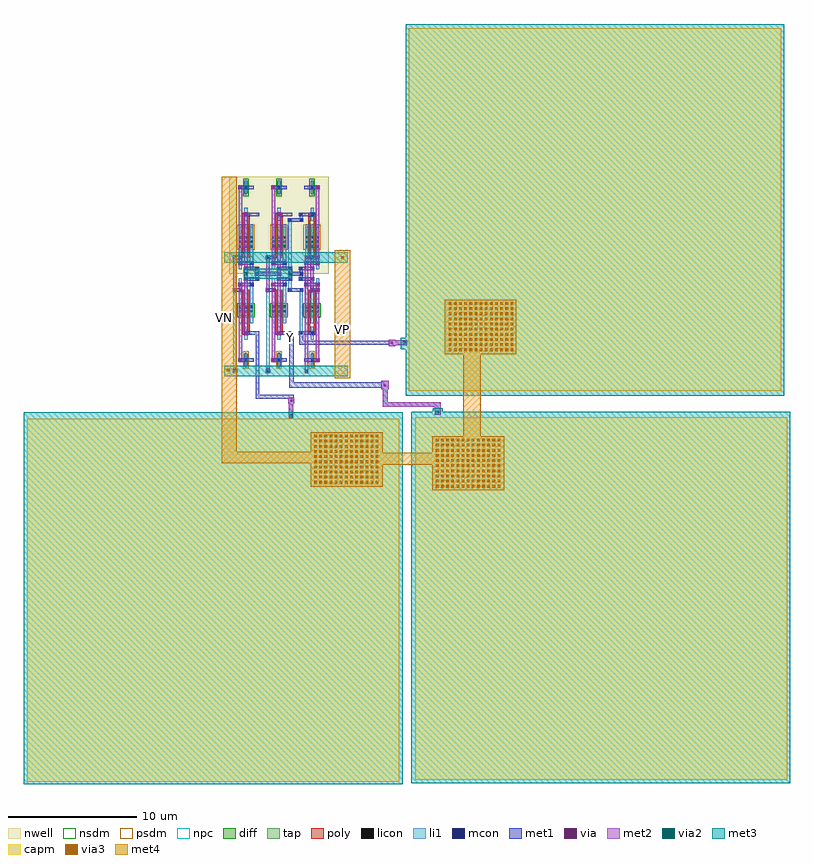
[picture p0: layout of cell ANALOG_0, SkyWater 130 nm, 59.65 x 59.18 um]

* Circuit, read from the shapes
.subckt ANALOG_0 VN VP Y
XM1 Y n1 VP VP sky130_fd_pr__nfet_01v8 w=0.84 l=0.15 m=2
XM2 n2 Y VP VP sky130_fd_pr__nfet_01v8 w=0.84 l=0.15 m=2
XM3 n1 n2 VP VP sky130_fd_pr__nfet_01v8 w=0.84 l=0.15 m=2
XM4 Y n1 VN VN sky130_fd_pr__pfet_01v8 w=1.68 l=0.15 m=2
XM5 n2 Y VN VN sky130_fd_pr__pfet_01v8 w=1.68 l=0.15 m=2
XM6 n1 n2 VN VN sky130_fd_pr__pfet_01v8 w=1.68 l=0.15 m=2
XC7 VN n1 sky130_fd_pr__cap_mim_m3_1 w=28.97 l=28.24
XC8 VN n2 sky130_fd_pr__cap_mim_m3_1 w=28.97 l=28.24
XC9 VN Y sky130_fd_pr__cap_mim_m3_1 w=28.97 l=28.24
.ends

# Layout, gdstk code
from math import pi, radians
import gdstk
lib = gdstk.Library(unit=1e-6, precision=1e-09)
def R(c, l, rs):  # rectangles x0, y0, x1, y1
    for r in rs: c.add(gdstk.rectangle(r[:2], r[2:], *l))
def A(c, l, x, y, w, h, nx, ny, dx, dy):  # array of equal rectangles
    R(c, l, [(x+i*dx, y+j*dy, x+i*dx+w, y+j*dy+h) for i in range(nx) for j in range(ny)])
nwell = (64, 20)
diff = (65, 20)
tap = (65, 44)
poly = (66, 20)
licon = (66, 44)
li1 = (67, 20)
mcon = (67, 44)
met1 = (68, 20)
via = (68, 44)
met2 = (69, 20)
via2 = (69, 44)
met3 = (70, 20)
via3 = (70, 44)
met4 = (71, 20)
capm = (89, 44)
nsdm = (93, 44)
psdm = (94, 20)
npc = (95, 20)

pmos_s_89421238_x1_y1_16 = lib.new_cell('PMOS_S_89421238_X1_Y1_1677466712_1677466713')
R(pmos_s_89421238_x1_y1_16, nwell, [(0,0,2.58,7.56)])
R(pmos_s_89421238_x1_y1_16, diff, [(0.735,1.995,1.845,3.675)])
R(pmos_s_89421238_x1_y1_16, tap, [(1.205,6.16,1.375,7.28)])
R(pmos_s_89421238_x1_y1_16, poly, [(1,1.26,1.15,4.485), (1.43,1.26,1.58,4.485), (1,4.485,1.58,4.755)])
A(pmos_s_89421238_x1_y1_16, licon, 0.775, 2.075, 0.17, 0.17, 3, 3, 0.43, 0.34)
R(pmos_s_89421238_x1_y1_16, licon, [(1.205,4.535,1.375,4.705), (1.205,6.635,1.375,6.805)])
A(pmos_s_89421238_x1_y1_16, li1, 0.735, 0.335, 0.25, 3.53, 3, 1, 0.43, 0)
R(pmos_s_89421238_x1_y1_16, li1, [(1.165,4.115,1.415,5.125), (1.165,6.215,1.415,7.225)])
R(pmos_s_89421238_x1_y1_16, mcon, [(1.205,0.335,1.375,0.505), (0.775,0.755,0.945,0.925), (1.635,0.755,1.805,0.925), (1.205,4.535,1.375,4.705), (1.205,6.635,1.375,6.805)])
R(pmos_s_89421238_x1_y1_16, met1, [(0.26,0.28,1.46,0.56), (0.69,0.7,1.89,0.98), (0.26,4.48,1.46,4.76), (0.69,6.58,1.89,6.86)])
R(pmos_s_89421238_x1_y1_16, via, [(1.645,0.765,1.795,0.915), (1.645,6.645,1.795,6.795)])
R(pmos_s_89421238_x1_y1_16, met2, [(1.58,0.68,1.86,6.88)])
R(pmos_s_89421238_x1_y1_16, nsdm, [(1.08,6.035,1.5,7.405)])
R(pmos_s_89421238_x1_y1_16, psdm, [(0.61,1.87,1.97,3.8)])
R(pmos_s_89421238_x1_y1_16, npc, [(1.105,4.435,1.475,4.805)])

nmos_s_25628869_x1_y1_16 = lib.new_cell('NMOS_S_25628869_X1_Y1_1677466711_1677466713')
R(nmos_s_25628869_x1_y1_16, diff, [(0.735,2.415,1.845,3.255)])
R(nmos_s_25628869_x1_y1_16, tap, [(1.205,6.16,1.375,7.28)])
R(nmos_s_25628869_x1_y1_16, poly, [(1,1.26,1.15,4.485), (1.43,1.26,1.58,4.485), (1,4.485,1.58,4.755)])
A(nmos_s_25628869_x1_y1_16, licon, 0.775, 2.495, 0.17, 0.17, 3, 2, 0.43, 0.34)
R(nmos_s_25628869_x1_y1_16, licon, [(1.205,4.535,1.375,4.705), (1.205,6.635,1.375,6.805)])
A(nmos_s_25628869_x1_y1_16, li1, 0.735, 0.335, 0.25, 3.53, 3, 1, 0.43, 0)
R(nmos_s_25628869_x1_y1_16, li1, [(1.165,4.115,1.415,5.125), (1.165,6.215,1.415,7.225)])
R(nmos_s_25628869_x1_y1_16, mcon, [(1.205,0.335,1.375,0.505), (0.775,0.755,0.945,0.925), (1.635,0.755,1.805,0.925), (1.205,4.535,1.375,4.705), (1.205,6.635,1.375,6.805)])
R(nmos_s_25628869_x1_y1_16, met1, [(0.26,0.28,1.46,0.56), (0.69,0.7,1.89,0.98), (0.26,4.48,1.46,4.76), (0.69,6.58,1.89,6.86)])
R(nmos_s_25628869_x1_y1_16, via, [(1.645,0.765,1.795,0.915), (1.645,6.645,1.795,6.795)])
R(nmos_s_25628869_x1_y1_16, met2, [(1.58,0.68,1.86,6.88)])
R(nmos_s_25628869_x1_y1_16, nsdm, [(0.61,2.29,1.97,3.38)])
R(nmos_s_25628869_x1_y1_16, psdm, [(1.08,6.035,1.5,7.405)])
R(nmos_s_25628869_x1_y1_16, npc, [(1.105,4.435,1.475,4.805)])

stage2_inv_27873531_pg0_ = lib.new_cell('STAGE2_INV_27873531_PG0_0_0_1677466713')
R(stage2_inv_27873531_pg0_, li1, [(2.025,2.855,2.275,6.385), (2.885,6.215,3.135,11.845), (2.025,7.055,2.275,8.065), (2.025,11.675,2.275,12.265)])
A(stage2_inv_27873531_pg0_, mcon, 2.065, 6.215, 0.17, 0.17, 1, 3, 0, 0.84)
A(stage2_inv_27873531_pg0_, mcon, 2.925, 6.215, 0.17, 0.17, 1, 3, 0, 0.84)
R(stage2_inv_27873531_pg0_, mcon, [(2.065,2.855,2.235,3.025), (2.065,11.675,2.235,11.845), (2.925,11.675,3.095,11.845), (2.065,12.095,2.235,12.265)])
R(stage2_inv_27873531_pg0_, met1, [(1.98,2.8,2.32,3.08), (3.71,2.8,4.03,3.08), (1.98,6.16,3.18,6.44), (1.98,7,2.32,7.28), (2.84,7,3.18,7.28), (1.98,7.84,2.32,8.12), (2.84,7.84,3.18,8.12), (1.98,11.62,3.18,11.9), (1.98,12.04,2.32,12.32), (3.71,12.04,4.03,12.32)])
R(stage2_inv_27873531_pg0_, via, [(3.795,2.865,3.945,3.015), (3.795,12.105,3.945,12.255)])
R(stage2_inv_27873531_pg0_, met2, [(3.73,2.78,4.01,12.34)])
stage2_inv_27873531_pg0_.add(gdstk.Reference(pmos_s_89421238_x1_y1_16, (2.58,7.56)))
stage2_inv_27873531_pg0_.add(gdstk.Reference(pmos_s_89421238_x1_y1_16, (2.58,7.56), rotation=pi, x_reflection=True))
stage2_inv_27873531_pg0_.add(gdstk.Reference(nmos_s_25628869_x1_y1_16, (2.58,7.56), x_reflection=True))
stage2_inv_27873531_pg0_.add(gdstk.Reference(nmos_s_25628869_x1_y1_16, (2.58,7.56), rotation=pi))

c_pmos_s_89421238_x1_y1_16 = lib.new_cell('PMOS_S_89421238_X1_Y1_1677466712_1677466712')
R(c_pmos_s_89421238_x1_y1_16, nwell, [(0,0,2.58,7.56)])
R(c_pmos_s_89421238_x1_y1_16, diff, [(0.735,1.995,1.845,3.675)])
R(c_pmos_s_89421238_x1_y1_16, tap, [(1.205,6.16,1.375,7.28)])
R(c_pmos_s_89421238_x1_y1_16, poly, [(1,1.26,1.15,4.485), (1.43,1.26,1.58,4.485), (1,4.485,1.58,4.755)])
A(c_pmos_s_89421238_x1_y1_16, licon, 0.775, 2.075, 0.17, 0.17, 3, 3, 0.43, 0.34)
R(c_pmos_s_89421238_x1_y1_16, licon, [(1.205,4.535,1.375,4.705), (1.205,6.635,1.375,6.805)])
A(c_pmos_s_89421238_x1_y1_16, li1, 0.735, 0.335, 0.25, 3.53, 3, 1, 0.43, 0)
R(c_pmos_s_89421238_x1_y1_16, li1, [(1.165,4.115,1.415,5.125), (1.165,6.215,1.415,7.225)])
R(c_pmos_s_89421238_x1_y1_16, mcon, [(1.205,0.335,1.375,0.505), (0.775,0.755,0.945,0.925), (1.635,0.755,1.805,0.925), (1.205,4.535,1.375,4.705), (1.205,6.635,1.375,6.805)])
R(c_pmos_s_89421238_x1_y1_16, met1, [(0.26,0.28,1.46,0.56), (0.69,0.7,1.89,0.98), (0.26,4.48,1.46,4.76), (0.69,6.58,1.89,6.86)])
R(c_pmos_s_89421238_x1_y1_16, via, [(1.645,0.765,1.795,0.915), (1.645,6.645,1.795,6.795)])
R(c_pmos_s_89421238_x1_y1_16, met2, [(1.58,0.68,1.86,6.88)])
R(c_pmos_s_89421238_x1_y1_16, nsdm, [(1.08,6.035,1.5,7.405)])
R(c_pmos_s_89421238_x1_y1_16, psdm, [(0.61,1.87,1.97,3.8)])
R(c_pmos_s_89421238_x1_y1_16, npc, [(1.105,4.435,1.475,4.805)])

c_nmos_s_25628869_x1_y1_16 = lib.new_cell('NMOS_S_25628869_X1_Y1_1677466711_1677466712')
R(c_nmos_s_25628869_x1_y1_16, diff, [(0.735,2.415,1.845,3.255)])
R(c_nmos_s_25628869_x1_y1_16, tap, [(1.205,6.16,1.375,7.28)])
R(c_nmos_s_25628869_x1_y1_16, poly, [(1,1.26,1.15,4.485), (1.43,1.26,1.58,4.485), (1,4.485,1.58,4.755)])
A(c_nmos_s_25628869_x1_y1_16, licon, 0.775, 2.495, 0.17, 0.17, 3, 2, 0.43, 0.34)
R(c_nmos_s_25628869_x1_y1_16, licon, [(1.205,4.535,1.375,4.705), (1.205,6.635,1.375,6.805)])
A(c_nmos_s_25628869_x1_y1_16, li1, 0.735, 0.335, 0.25, 3.53, 3, 1, 0.43, 0)
R(c_nmos_s_25628869_x1_y1_16, li1, [(1.165,4.115,1.415,5.125), (1.165,6.215,1.415,7.225)])
R(c_nmos_s_25628869_x1_y1_16, mcon, [(1.205,0.335,1.375,0.505), (0.775,0.755,0.945,0.925), (1.635,0.755,1.805,0.925), (1.205,4.535,1.375,4.705), (1.205,6.635,1.375,6.805)])
R(c_nmos_s_25628869_x1_y1_16, met1, [(0.26,0.28,1.46,0.56), (0.69,0.7,1.89,0.98), (0.26,4.48,1.46,4.76), (0.69,6.58,1.89,6.86)])
R(c_nmos_s_25628869_x1_y1_16, via, [(1.645,0.765,1.795,0.915), (1.645,6.645,1.795,6.795)])
R(c_nmos_s_25628869_x1_y1_16, met2, [(1.58,0.68,1.86,6.88)])
R(c_nmos_s_25628869_x1_y1_16, nsdm, [(0.61,2.29,1.97,3.38)])
R(c_nmos_s_25628869_x1_y1_16, psdm, [(1.08,6.035,1.5,7.405)])
R(c_nmos_s_25628869_x1_y1_16, npc, [(1.105,4.435,1.475,4.805)])

inv_21850877_pg0_0_0_167 = lib.new_cell('INV_21850877_PG0_0_0_1677466712')
R(inv_21850877_pg0_0_0_167, li1, [(0.305,7.055,0.555,8.065)])
R(inv_21850877_pg0_0_0_167, mcon, [(0.345,7.055,0.515,7.225), (0.345,7.895,0.515,8.065)])
R(inv_21850877_pg0_0_0_167, met1, [(1.13,2.8,1.45,3.08), (0.26,7,0.6,7.28), (0.26,7.84,0.6,8.12), (1.13,12.04,1.45,12.32)])
R(inv_21850877_pg0_0_0_167, via, [(1.215,2.865,1.365,3.015), (1.215,12.105,1.365,12.255)])
R(inv_21850877_pg0_0_0_167, met2, [(1.15,2.78,1.43,12.34)])
inv_21850877_pg0_0_0_167.add(gdstk.Reference(c_pmos_s_89421238_x1_y1_16, (0,7.56)))
inv_21850877_pg0_0_0_167.add(gdstk.Reference(c_nmos_s_25628869_x1_y1_16, (0,7.56), x_reflection=True))

analog_0 = lib.new_cell('ANALOG_0')
R(analog_0, li1, [(0.305,-0.085,0.555,8.905), (2.885,-0.085,3.135,8.905), (2.025,7.475,2.275,7.645), (5.465,7.475,5.715,7.645)])
R(analog_0, mcon, [(0.345,-0.085,0.515,0.085), (2.925,-0.085,3.095,0.085), (2.065,7.475,2.235,7.645), (5.505,7.475,5.675,7.645), (0.345,8.735,0.515,8.905), (2.925,8.735,3.095,8.905)])
R(analog_0, met1, [(4.64,-3.69,4.99,-2.51), (16.01,-3.42,16.46,-2.8), (11.93,-2.8,16.46,-2.45), (4.58,-2.51,5.06,-2.19), (11.93,-2.45,12.34,-1.44), (2.06,-2.19,5.06,-2.11), (2.06,-2.11,5.03,-1.86), (2.06,-1.86,2.33,3.05), (11.84,-1.44,12.42,-1.3), (4.66,-1.3,12.42,-0.87), (4.66,-0.87,5.01,2.8), (11.84,-0.87,12.42,-0.76), (0.26,-0.14,0.6,0.14), (2.84,-0.14,3.18,0.14), (12.42,1.93,12.91,2), (12.42,2,13.85,2.02), (5.44,2.02,13.85,2.36), (5.44,2.36,5.75,3.08), (12.42,2.36,13.85,2.37), (12.42,2.37,12.91,2.41), (4.46,2.8,5.01,3.08), (0.27,6.16,1.02,6.44), (2.85,6.16,3.6,6.44), (6.29,6.16,7.04,6.44), (1.98,7.42,4.03,7.7), (4.57,7.42,5.76,7.7), (0.26,8.68,1.02,8.96), (2.84,8.68,3.6,8.96), (5.86,8.68,7.04,8.96)])
A(analog_0, via, 0.785, 8.745, 0.15, 0.15, 3, 1, 2.58, 0)
R(analog_0, via, [(4.75,-2.39,4.9,-2.24), (12.04,-1.18,12.19,-1.03), (0.355,-0.075,0.505,0.075), (2.935,-0.075,3.085,0.075), (12.585,2.11,12.735,2.26), (0.355,6.225,0.505,6.375), (0.785,6.225,0.935,6.375), (2.935,6.225,3.085,6.375), (3.365,6.225,3.515,6.375), (6.375,6.225,6.525,6.375), (6.805,6.225,6.955,6.375), (3.795,7.485,3.945,7.635), (4.655,7.485,4.805,7.635), (6.805,8.745,6.955,8.895)])
R(analog_0, met2, [(4.64,-3.69,4.99,-2.51), (16.01,-3.42,16.46,-2.8), (11.93,-2.8,16.46,-2.45), (4.58,-2.51,5.06,-2.11), (11.93,-2.45,12.34,-1.44), (11.84,-1.44,12.42,-0.76), (0.29,-0.185,0.57,0.24), (2.87,-0.185,3.15,0.24), (5.88,-0.185,6.16,8.98), (12.42,1.93,12.91,2), (12.42,2,13.85,2.37), (12.42,2.37,12.91,2.41), (0.29,6.14,0.57,9.005), (0.72,6.14,1,6.46), (2.87,6.14,3.15,9.005), (3.3,6.14,3.58,6.46), (6.31,6.14,6.59,9.005), (6.74,6.14,7.02,6.46), (1.15,7.375,1.43,7.745), (4.59,7.375,4.87,7.745), (3.73,7.4,4.01,7.72), (0.72,8.66,1,8.98), (3.3,8.66,3.58,8.98), (6.74,8.66,7.02,8.98)])
R(analog_0, via2, [(4.73,-3.59,4.93,-3.39), (16.13,-3.305,16.33,-3.105), (0.33,-0.1,0.53,0.1), (2.91,-0.1,3.11,0.1), (5.92,-0.1,6.12,0.1), (13.545,2.09,13.745,2.29), (1.19,7.46,1.39,7.66), (4.63,7.46,4.83,7.66), (0.33,8.72,0.53,8.92), (2.91,8.72,3.11,8.92), (6.35,8.72,6.55,8.92)])
R(analog_0, met3, [(-15.99,-32.17,13.49,-3.22), (14.18,-32.12,43.66,-3.17), (15.84,-3.17,16.61,-2.91), (13.74,-1.94,43.22,1.7), (-0.4,-0.4,9.21,0.4), (13.34,1.7,43.22,2.57), (13.74,2.57,43.22,27.01), (1.125,7.16,4.895,7.96), (-0.4,8.42,9.21,9.22)])
A(analog_0, via3, 16.09, -9.085, 0.2, 0.2, 13, 10, 0.4, 0.4)
A(analog_0, via3, 6.61, -8.775, 0.2, 0.2, 13, 10, 0.4, 0.4)
A(analog_0, via3, 17.1, 1.545, 0.2, 0.2, 13, 10, 0.4, 0.4)
R(analog_0, via3, [(-0.185,-0.045,0.015,0.155), (8.71,8.72,8.91,8.92)])
R(analog_0, met4, [(15.82,-9.31,21.4,-7.3), (6.35,-9.01,11.93,-7.3), (6.35,-7.3,21.4,-7.21), (-0.59,-7.21,21.4,-6.38), (-0.59,-6.38,11.93,-6.29), (15.82,-6.38,21.4,-5.08), (-0.59,-6.29,0.59,15.12), (6.35,-6.29,11.93,-4.78), (18.2,-5.08,19.57,1.29), (8.22,-0.59,9.4,9.41), (16.78,1.29,22.36,5.52)])
R(analog_0, capm, [(-15.73,-31.98,13.24,-3.74), (14.49,-31.84,43.46,-3.6), (13.99,-1.55,42.96,26.69)])
analog_0.add(gdstk.Reference(stage2_inv_27873531_pg0_, (7.74,0), rotation=pi, x_reflection=True))
analog_0.add(gdstk.Reference(inv_21850877_pg0_0_0_167, (2.58,0), rotation=pi, x_reflection=True))
analog_0.add(gdstk.Label('VN', (-0.38,4.18), layer=71, texttype=5))
analog_0.add(gdstk.Label('VP', (8.79,3.21), layer=71, texttype=5))
analog_0.add(gdstk.Label('Y', (4.74,2.63), layer=68, texttype=5))

lib.write_gds('ANALOG_0.gds')
